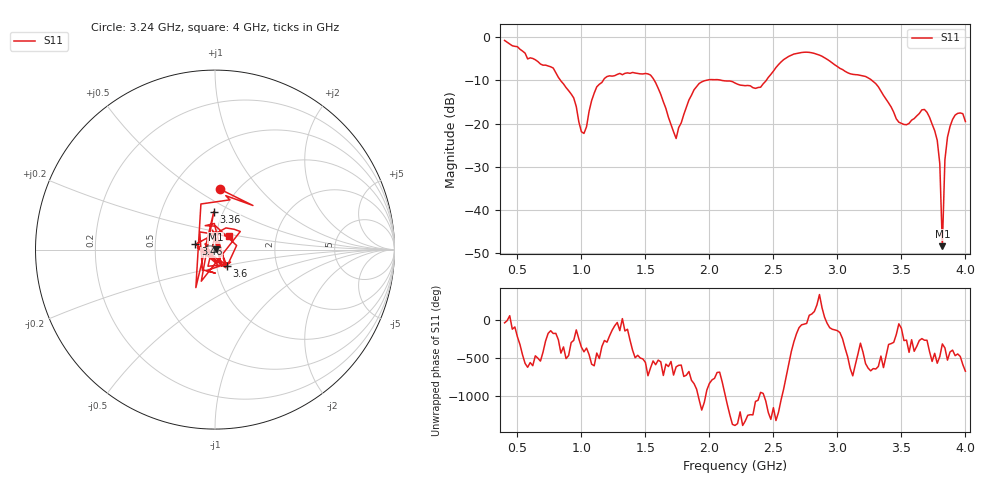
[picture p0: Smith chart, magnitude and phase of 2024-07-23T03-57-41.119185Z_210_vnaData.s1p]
!Created with skrf (http://scikit-rf.org).
# Hz S RI R 50.0
!freq ReS11 ImS11
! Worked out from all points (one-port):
!   181 points, 400 MHz to 4 GHz, reference 50 ohm
!   lowest |S11| = -48.3 dB at 3.82 GHz (marker M1), VSWR 1.01, Z = 50.3 + j0.261 ohm
!   |S11| at or under -10 dB: 1.569 GHz to 1.977 GHz (407.9 MHz wide, 23 % of centre); 2.094 GHz to 2.444 GHz (350.7 MHz wide, 15.5 % of centre); 3.269 GHz to end of sweep (the widest 3 of 4)
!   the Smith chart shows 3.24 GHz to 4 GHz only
!   S11 on the Smith chart (normalised r, x): 3.24 GHz: 0.84, +0.64; 3.36 GHz: 0.90, +0.40; 3.46 GHz: 0.80, +0.05; 3.6 GHz: 1.12, -0.21; 4 GHz: 1.15, +0.17
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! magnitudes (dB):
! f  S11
! 400 MHz  -0.8
! 780 MHz  -7.2
! 860 MHz  -10.8
! 940 MHz  -14.1
! 1.02 GHz  -22.3
! 1.12 GHz  -11.5
! 1.3 GHz  -8.4
! 1.54 GHz  -8.8
! 1.74 GHz  -23.5
! 1.76 GHz  -20.9
! 1.92 GHz  -10.7
! 2.2 GHz  -10.6
! 2.4 GHz  -11.6
! 2.66 GHz  -3.9
! 3.1 GHz  -8.5
! 3.24 GHz  -9.4
! 3.36 GHz  -13.5
! 3.46 GHz  -18.9
! 3.56 GHz  -20.0
! 3.6 GHz  -18.8
! 3.68 GHz  -16.7
! 3.78 GHz  -23.9
! 3.8 GHz  -29.3
! 3.82 GHz  -48.3
! 3.84 GHz  -28.4
! 3.86 GHz  -23.2
! 3.92 GHz  -18.0
! 4 GHz  -19.5
